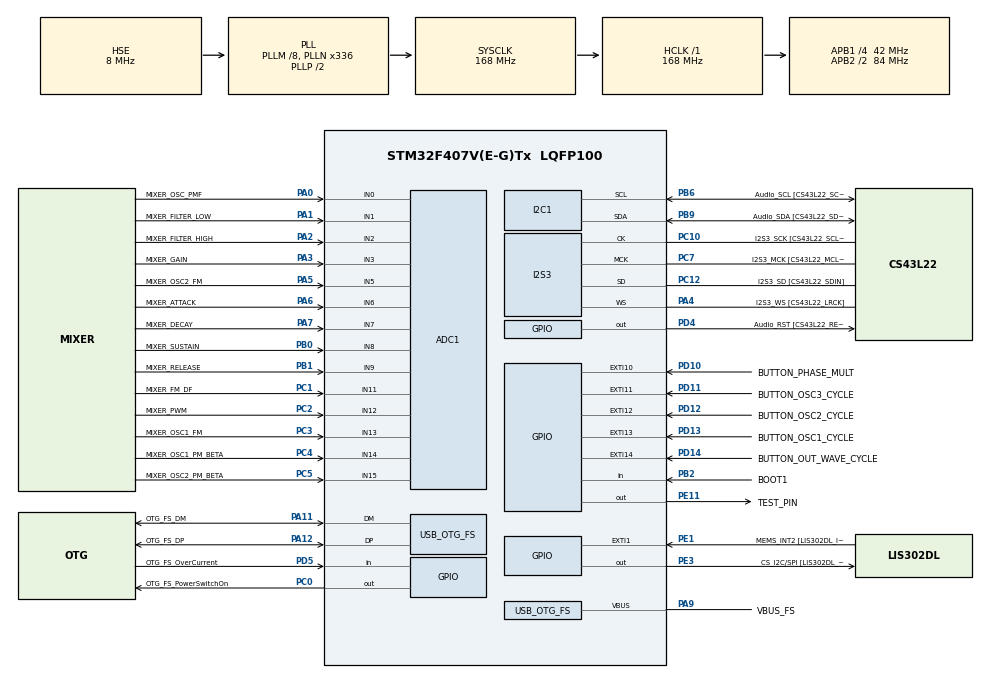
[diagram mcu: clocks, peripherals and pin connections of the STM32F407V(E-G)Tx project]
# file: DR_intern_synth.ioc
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ADC1.Channel-0\#ChannelRegularConversion=ADC_CHANNEL_1
ADC1.Channel-1\#ChannelRegularConversion=ADC_CHANNEL_2
ADC1.Channel-10\#ChannelRegularConversion=ADC_CHANNEL_13
ADC1.Channel-11\#ChannelRegularConversion=ADC_CHANNEL_14
ADC1.Channel-12\#ChannelRegularConversion=ADC_CHANNEL_15
ADC1.Channel-13\#ChannelRegularConversion=ADC_CHANNEL_0
ADC1.Channel-2\#ChannelRegularConversion=ADC_CHANNEL_3
ADC1.Channel-3\#ChannelRegularConversion=ADC_CHANNEL_5
ADC1.Channel-4\#ChannelRegularConversion=ADC_CHANNEL_6
ADC1.Channel-5\#ChannelRegularConversion=ADC_CHANNEL_7
ADC1.Channel-6\#ChannelRegularConversion=ADC_CHANNEL_8
ADC1.Channel-7\#ChannelRegularConversion=ADC_CHANNEL_9
ADC1.Channel-8\#ChannelRegularConversion=ADC_CHANNEL_11
ADC1.Channel-9\#ChannelRegularConversion=ADC_CHANNEL_12
ADC1.DMAContinuousRequests=ENABLE
ADC1.ExternalTrigConv=ADC_EXTERNALTRIGCONV_T3_TRGO
ADC1.NbrOfConversion=14
ADC1.NbrOfConversionFlag=1
ADC1.Rank-0\#ChannelRegularConversion=1
ADC1.Rank-1\#ChannelRegularConversion=2
ADC1.Rank-10\#ChannelRegularConversion=11
ADC1.Rank-11\#ChannelRegularConversion=12
ADC1.Rank-12\#ChannelRegularConversion=13
ADC1.Rank-13\#ChannelRegularConversion=14
ADC1.Rank-2\#ChannelRegularConversion=3
ADC1.Rank-3\#ChannelRegularConversion=4
ADC1.Rank-4\#ChannelRegularConversion=5
ADC1.Rank-5\#ChannelRegularConversion=6
ADC1.Rank-6\#ChannelRegularConversion=7
ADC1.Rank-7\#ChannelRegularConversion=8
ADC1.Rank-8\#ChannelRegularConversion=9
ADC1.Rank-9\#ChannelRegularConversion=10
ADC1.SamplingTime-0\#ChannelRegularConversion=ADC_SAMPLETIME_3CYCLES
ADC1.SamplingTime-1\#ChannelRegularConversion=ADC_SAMPLETIME_3CYCLES
ADC1.SamplingTime-10\#ChannelRegularConversion=ADC_SAMPLETIME_3CYCLES
ADC1.SamplingTime-11\#ChannelRegularConversion=ADC_SAMPLETIME_3CYCLES
ADC1.SamplingTime-12\#ChannelRegularConversion=ADC_SAMPLETIME_3CYCLES
ADC1.SamplingTime-13\#ChannelRegularConversion=ADC_SAMPLETIME_3CYCLES
ADC1.SamplingTime-2\#ChannelRegularConversion=ADC_SAMPLETIME_3CYCLES
ADC1.SamplingTime-3\#ChannelRegularConversion=ADC_SAMPLETIME_3CYCLES
ADC1.SamplingTime-4\#ChannelRegularConversion=ADC_SAMPLETIME_3CYCLES
ADC1.SamplingTime-5\#ChannelRegularConversion=ADC_SAMPLETIME_3CYCLES
ADC1.SamplingTime-6\#ChannelRegularConversion=ADC_SAMPLETIME_3CYCLES
ADC1.SamplingTime-7\#ChannelRegularConversion=ADC_SAMPLETIME_3CYCLES
ADC1.SamplingTime-8\#ChannelRegularConversion=ADC_SAMPLETIME_3CYCLES
ADC1.SamplingTime-9\#ChannelRegularConversion=ADC_SAMPLETIME_3CYCLES
ADC1.ScanConvMode=ENABLE
ADC1.master=1
Dma.ADC1.1.Direction=DMA_PERIPH_TO_MEMORY
Dma.ADC1.1.FIFOMode=DMA_FIFOMODE_DISABLE
Dma.ADC1.1.Instance=DMA2_Stream0
Dma.ADC1.1.MemDataAlignment=DMA_MDATAALIGN_HALFWORD
Dma.ADC1.1.MemInc=DMA_MINC_ENABLE
Dma.ADC1.1.Mode=DMA_CIRCULAR
Dma.ADC1.1.PeriphDataAlignment=DMA_PDATAALIGN_HALFWORD
Dma.ADC1.1.PeriphInc=DMA_PINC_DISABLE
Dma.ADC1.1.Priority=DMA_PRIORITY_LOW
Dma.Request0=SPI3_TX
Dma.Request1=ADC1
Dma.SPI3_TX.0.Direction=DMA_MEMORY_TO_PERIPH
Dma.SPI3_TX.0.FIFOMode=DMA_FIFOMODE_DISABLE
Dma.SPI3_TX.0.Instance=DMA1_Stream5
Dma.SPI3_TX.0.MemDataAlignment=DMA_MDATAALIGN_HALFWORD
Dma.SPI3_TX.0.MemInc=DMA_MINC_ENABLE
Dma.SPI3_TX.0.Mode=DMA_CIRCULAR
Dma.SPI3_TX.0.PeriphDataAlignment=DMA_PDATAALIGN_HALFWORD
Dma.SPI3_TX.0.PeriphInc=DMA_PINC_DISABLE
Dma.SPI3_TX.0.Priority=DMA_PRIORITY_LOW
I2S3.AudioFreq=I2S_AUDIOFREQ_44K
I2S3.AudioFreq-Half_Duplex_Master=I2S_AUDIOFREQ_96K
I2S3.ErrorAudioFreq=0.12 %
I2S3.ErrorAudioFreq-Half_Duplex_Master=0.8 %
I2S3.FullDuplexMode=I2S_FULLDUPLEXMODE_DISABLE
I2S3.Instance=SPI$Index
I2S3.RealAudioFreq=44.053 KHz
I2S3.RealAudioFreq-Half_Duplex_Master=96.774 KHz
I2S3.VirtualMode=I2S_MODE_MASTER
Mcu.Family=STM32F4
Mcu.Name=STM32F407V(E-G)Tx
Mcu.Package=LQFP100
NVIC.ADC_IRQn=true\:0\:0\:false\:false\:true\:true\:true\:true
NVIC.DMA1_Stream5_IRQn=true\:0\:0\:false\:false\:true\:false\:true\:true
NVIC.DMA2_Stream0_IRQn=true\:0\:0\:false\:false\:true\:false\:true\:true
NVIC.EXTI15_10_IRQn=true\:0\:0\:false\:false\:true\:true\:true\:true
NVIC.OTG_FS_IRQn=true\:0\:0\:false\:false\:true\:true\:true\:true
NVIC.PriorityGroup=NVIC_PRIORITYGROUP_0
NVIC.SPI3_IRQn=true\:0\:0\:false\:false\:true\:true\:true\:true
NVIC.TIM3_IRQn=true\:0\:0\:false\:false\:true\:true\:true\:true
NVIC.TIM7_IRQn=true\:0\:0\:false\:false\:true\:true\:true\:true
PA0-WKUP.GPIO_Label=MIXER_OSC_PMF
PA0-WKUP.Signal=ADCx_IN0
PA1.GPIO_Label=MIXER_FILTER_LOW
PA1.Signal=ADCx_IN1
PA10.GPIO_Label=OTG_FS_ID
PA10.GPIO_Mode=GPIO_MODE_AF_PP
PA10.GPIO_PuPd=GPIO_NOPULL
PA10.GPIO_Speed=GPIO_SPEED_FREQ_LOW
PA10.Signal=USB_OTG_FS_ID
PA11.GPIO_Label=OTG_FS_DM
PA11.GPIO_Mode=GPIO_MODE_AF_PP
PA11.GPIO_PuPd=GPIO_NOPULL
PA11.GPIO_Speed=GPIO_SPEED_FREQ_LOW
PA11.Mode=Host_Only
PA11.Signal=USB_OTG_FS_DM
PA12.GPIO_Label=OTG_FS_DP
PA12.GPIO_Mode=GPIO_MODE_AF_PP
PA12.GPIO_PuPd=GPIO_NOPULL
PA12.GPIO_Speed=GPIO_SPEED_FREQ_LOW
PA12.Mode=Host_Only
PA12.Signal=USB_OTG_FS_DP
PA13.GPIO_Label=SWDIO
PA13.Mode=Serial_Wire
PA13.Signal=SYS_JTMS-SWDIO
PA14.GPIO_Label=SWCLK
PA14.Mode=Serial_Wire
PA14.Signal=SYS_JTCK-SWCLK
PA2.GPIO_Label=MIXER_FILTER_HIGH
PA2.Signal=ADCx_IN2
PA3.GPIO_Label=MIXER_GAIN
PA3.Signal=ADCx_IN3
PA4.GPIO_Label=I2S3_WS [CS43L22_LRCK]
PA4.GPIO_Mode=GPIO_MODE_AF_PP
PA4.GPIO_PuPd=GPIO_NOPULL
PA4.GPIO_Speed=GPIO_SPEED_FREQ_LOW
PA4.Mode=Half_Duplex_Master
PA4.Signal=I2S3_WS
PA5.GPIO_Label=MIXER_OSC2_FM
PA5.Signal=ADCx_IN5
PA6.GPIO_Label=MIXER_ATTACK
PA6.Signal=ADCx_IN6
PA7.GPIO_Label=MIXER_DECAY
PA7.Signal=ADCx_IN7
PA9.GPIO_Label=VBUS_FS
PA9.GPIO_Mode=GPIO_MODE_INPUT
PA9.GPIO_PuPd=GPIO_NOPULL
PA9.Mode=Activate_VBUS
PA9.Signal=USB_OTG_FS_VBUS
PB0.GPIO_Label=MIXER_SUSTAIN
PB0.Signal=ADCx_IN8
PB1.GPIO_Label=MIXER_RELEASE
PB1.Signal=ADCx_IN9
PB10.GPIO_Label=CLK_IN [MP45DT02_CLK]
PB10.GPIO_Mode=GPIO_MODE_AF_PP
PB10.GPIO_PuPd=GPIO_NOPULL
PB10.GPIO_Speed=GPIO_SPEED_FREQ_LOW
PB10.Signal=I2S2_CK
PB2.GPIO_Label=BOOT1
PB2.GPIO_Mode=GPIO_MODE_INPUT
PB2.GPIO_PuPd=GPIO_NOPULL
PB2.Signal=GPIO_Input
PB3.GPIO_Label=SWO
PB3.Signal=SYS_JTDO-SWO
PB6.GPIO_Label=Audio_SCL [CS43L22_SCL]
PB6.GPIO_Mode=GPIO_MODE_AF_OD
PB6.GPIO_Pu=GPIO_PULLUP
PB6.GPIO_PuPd=GPIO_NOPULL
PB6.GPIO_Speed=GPIO_SPEED_FREQ_LOW
PB6.Mode=I2C
PB6.Signal=I2C1_SCL
PB9.GPIO_Label=Audio_SDA [CS43L22_SDA]
PB9.GPIO_Mode=GPIO_MODE_AF_OD
PB9.GPIO_Pu=GPIO_PULLUP
PB9.GPIO_PuPd=GPIO_NOPULL
PB9.GPIO_Speed=GPIO_SPEED_FREQ_LOW
PB9.Mode=I2C
PB9.Signal=I2C1_SDA
PC0.GPIO_Label=OTG_FS_PowerSwitchOn
PC0.GPIO_PuPd=GPIO_NOPULL
PC0.GPIO_Speed=GPIO_SPEED_FREQ_LOW
PC0.PinState=GPIO_PIN_SET
PC0.Signal=GPIO_Output
PC1.GPIO_Label=MIXER_FM_DF
PC1.Signal=ADCx_IN11
PC10.GPIO_Label=I2S3_SCK [CS43L22_SCLK]
PC10.GPIO_Mode=GPIO_MODE_AF_PP
PC10.GPIO_PuPd=GPIO_NOPULL
PC10.GPIO_Speed=GPIO_SPEED_FREQ_LOW
PC10.Mode=Half_Duplex_Master
PC10.Signal=I2S3_CK
PC12.GPIO_Label=I2S3_SD [CS43L22_SDIN]
PC12.GPIO_Mode=GPIO_MODE_AF_PP
PC12.GPIO_PuPd=GPIO_NOPULL
PC12.GPIO_Speed=GPIO_SPEED_FREQ_LOW
PC12.Mode=Half_Duplex_Master
PC12.Signal=I2S3_SD
PC14-OSC32_IN.GPIO_Label=PC14-OSC32_IN
PC14-OSC32_IN.Mode=LSE-External-Oscillator
PC14-OSC32_IN.Signal=RCC_OSC32_IN
PC15-OSC32_OUT.GPIO_Label=PC15-OSC32_OUT
PC15-OSC32_OUT.Mode=LSE-External-Oscillator
PC15-OSC32_OUT.Signal=RCC_OSC32_OUT
PC2.GPIO_Label=MIXER_PWM
PC2.Signal=ADCx_IN12
PC3.GPIO_Label=MIXER_OSC1_FM
PC3.Signal=ADCx_IN13
PC4.GPIO_Label=MIXER_OSC1_PM_BETA
PC4.Signal=ADCx_IN14
PC5.GPIO_Label=MIXER_OSC2_PM_BETA
PC5.Signal=ADCx_IN15
PC7.GPIO_Label=I2S3_MCK [CS43L22_MCLK]
PC7.GPIO_Mode=GPIO_MODE_AF_PP
PC7.GPIO_PuPd=GPIO_NOPULL
PC7.GPIO_Speed=GPIO_SPEED_FREQ_LOW
PC7.Mode=Master_Clock_Activated
PC7.Signal=I2S3_MCK
PD10.GPIO_Label=BUTTON_PHASE_MULT
PD10.GPIO_PuPd=GPIO_PULLUP
PD10.Signal=GPXTI10
PD11.GPIO_Label=BUTTON_OSC3_CYCLE
PD11.GPIO_ModeDefaultEXTI=GPIO_MODE_IT_FALLING
PD11.GPIO_PuPd=GPIO_PULLUP
PD11.Signal=GPXTI11
PD12.GPIO_Label=BUTTON_OSC2_CYCLE
PD12.GPIO_ModeDefaultEXTI=GPIO_MODE_IT_FALLING
PD12.GPIO_PuPd=GPIO_PULLUP
PD12.Signal=GPXTI12
PD13.GPIO_Label=BUTTON_OSC1_CYCLE
PD13.GPIO_ModeDefaultEXTI=GPIO_MODE_IT_FALLING
PD13.GPIO_PuPd=GPIO_PULLUP
PD13.Signal=GPXTI13
PD14.GPIO_Label=BUTTON_OUT_WAVE_CYCLE
PD14.GPIO_ModeDefaultEXTI=GPIO_MODE_IT_FALLING
PD14.GPIO_PuPd=GPIO_PULLUP
PD14.Signal=GPXTI14
PD4.GPIO_Label=Audio_RST [CS43L22_RESET]
PD4.GPIO_PuPd=GPIO_NOPULL
PD4.GPIO_Speed=GPIO_SPEED_FREQ_LOW
PD4.Signal=GPIO_Output
PD5.GPIO_Label=OTG_FS_OverCurrent
PD5.GPIO_Mode=GPIO_MODE_INPUT
PD5.GPIO_PuPd=GPIO_NOPULL
PD5.Signal=GPIO_Input
PE1.GPIO_Label=MEMS_INT2 [LIS302DL_INT2]
PE1.GPIO_ModeDefaultEXTI=GPIO_MODE_EVT_RISING
PE1.GPIO_PuPd=GPIO_NOPULL
PE1.Signal=GPXTI1
PE11.GPIO_Label=TEST_PIN
PE11.Signal=GPIO_Output
PE3.GPIO_Label=CS_I2C/SPI [LIS302DL_CS_I2C/SPI]
PE3.GPIO_PuPd=GPIO_NOPULL
PE3.GPIO_Speed=GPIO_SPEED_FREQ_LOW
PE3.Signal=GPIO_Output
PH0-OSC_IN.GPIO_Label=PH0-OSC_IN
PH0-OSC_IN.Mode=HSE-External-Oscillator
PH0-OSC_IN.Signal=RCC_OSC_IN
PH1-OSC_OUT.GPIO_Label=PH1-OSC_OUT
PH1-OSC_OUT.Mode=HSE-External-Oscillator
PH1-OSC_OUT.Signal=RCC_OSC_OUT
ProjectManager.HeapSize=0x200
ProjectManager.StackSize=0x400
ProjectManager.TargetToolchain=STM32CubeIDE
RCC.48MHZClocksFreq_Value=48000000
RCC.AHBFreq_Value=168000000
RCC.APB1CLKDivider=RCC_HCLK_DIV4
RCC.APB1Freq_Value=42000000
RCC.APB1TimFreq_Value=84000000
RCC.APB2CLKDivider=RCC_HCLK_DIV2
RCC.APB2Freq_Value=84000000
RCC.APB2TimFreq_Value=168000000
RCC.CortexFreq_Value=168000000
RCC.HCLKFreq_Value=168000000
RCC.HSE_VALUE=8000000
RCC.HSI_VALUE=16000000
RCC.PLLI2SN=203
RCC.PLLM=8
RCC.PLLN=336
RCC.PLLQ=7
RCC.SYSCLKFreq_VALUE=168000000
RCC.SYSCLKSource=RCC_SYSCLKSOURCE_PLLCLK
RCC.VCOOutputFreq_Value=336000000
SH.ADCx_IN0.0=ADC1_IN0,IN0
SH.ADCx_IN1.0=ADC1_IN1,IN1
SH.ADCx_IN11.0=ADC1_IN11,IN11
SH.ADCx_IN12.0=ADC1_IN12,IN12
SH.ADCx_IN13.0=ADC1_IN13,IN13
SH.ADCx_IN14.0=ADC1_IN14,IN14
SH.ADCx_IN15.0=ADC1_IN15,IN15
SH.ADCx_IN2.0=ADC1_IN2,IN2
SH.ADCx_IN3.0=ADC1_IN3,IN3
SH.ADCx_IN5.0=ADC1_IN5,IN5
SH.ADCx_IN6.0=ADC1_IN6,IN6
SH.ADCx_IN7.0=ADC1_IN7,IN7
SH.ADCx_IN8.0=ADC1_IN8,IN8
SH.ADCx_IN9.0=ADC1_IN9,IN9
TIM3.Channel-Output\ Compare1\ No\ Output=TIM_CHANNEL_1
TIM3.Prescaler=8
TIM3.TIM_MasterOutputTrigger=TIM_TRGO_UPDATE
TIM7.Period=200-1
TIM7.Prescaler=168-1
TIM7.TIM_MasterOutputTrigger=TIM_TRGO_UPDATE
USB_HOST.BSP.number=1
USB_HOST.USBH_HandleTypeDef-AUDIO_FS=hUsbHostFS
USB_HOST.VirtualModeFS=Audio
USB_HOST0.BSP.STBoard=false
USB_HOST0.BSP.api=Unknown
USB_HOST0.BSP.i2caddr=0
USB_HOST0.BSP.instance=PE11
USB_HOST0.BSP.ip=GPIO
USB_HOST0.BSP.mode=Output
USB_HOST0.BSP.name=Drive_VBUS_FS
USB_HOST0.BSP.solution=PE11
USB_OTG_FS.VirtualMode=Host_Only
USB_OTG_FS.phy_itface=HCD_PHY_EMBEDDED
VP_TIM3_VS_no_output1.Mode=Output Compare1 No Output
VP_TIM7_VS_ClockSourceINT.Mode=Enable_Timer
VP_USB_HOST_VS_USB_HOST_AUDIO_FS.Mode=AUDIO_FS
board=STM32F407G-DISC1

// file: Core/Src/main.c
/* USER CODE BEGIN Header */
/**
 ******************************************************************************
 * @file           : main.c
 * @brief          : Main program body
 ******************************************************************************
 * @attention
 *
 * Copyright (c) 2022 STMicroelectronics.
 * All rights reserved.
 *
 * This software is licensed under terms that can be found in the LICENSE file
 * in the root directory of this software component.
 * If no LICENSE file comes with this software, it is provided AS-IS.
 *
 ******************************************************************************
 */
/* USER CODE END Header */
#include "main.h"
#include "usb_host.h"

/* USER CODE BEGIN Includes */

#include "usb_host.h"
#include "wavetable.h"
#include "timer_utils.h"
#include "MY_CS43L22.h"
#include "filter.h"
#include "modulator.h"
#include "usbh_MIDI.h"
#include "MIDI_application.h"
#include "output_handler.h"
#include "envelope.h"

/* USER CODE END Includes */

/* USER CODE BEGIN PD */
#define REF_V_ANALOG 2.90
#define N_SAMPLES 255
#define ADC1_N_CHANNELS 3 //active channels on adc 1
/* USER CODE END PD */

 ADC_HandleTypeDef hadc1;
DMA_HandleTypeDef hdma_adc1;

I2C_HandleTypeDef hi2c1;

I2S_HandleTypeDef hi2s3;
DMA_HandleTypeDef hdma_spi3_tx;

TIM_HandleTypeDef htim3;
TIM_HandleTypeDef htim7;

/* USER CODE BEGIN PV */

uint16_t output_wave[N_WT_SAMPLES];

#define I2S_OUT_N N_WT_SAMPLES
#define I2S_OUT_N_HALF I2S_OUT_N/2
uint16_t i2s_out[I2S_OUT_N];

bool i2s_tx_cplt = false;
bool i2s_tx_half = false;

note_t nf_map_440hz[N_OCTAVES * N_SEMITONES];

uint16_t debounce_cnt = 0;
uint16_t debounce_limit = 0x1FF;
bool debounce_flag = false;

/* USER CODE END PV */

void SystemClock_Config(void);
static void MX_GPIO_Init(void);
static void MX_DMA_Init(void);
static void MX_TIM3_Init(void);
static void MX_TIM7_Init(void);
void MX_USB_HOST_Process(void);

int main(void)
{
  /* USER CODE BEGIN 1 */

	//	float output = 0;
  /* USER CODE END 1 */

  /* MCU Configuration--------------------------------------------------------*/

  /* Reset of all peripherals, Initializes the Flash interface and the Systick. */
  HAL_Init();

  /* Configure the system clock */
  SystemClock_Config();

  /* Initialize all configured peripherals */
  MX_GPIO_Init();
  MX_I2C1_Init();
  MX_DMA_Init();
  MX_USB_HOST_Init();
  MX_ADC1_Init();
  MX_I2S3_Init();
  MX_TIM3_Init();
  MX_TIM7_Init();
  /* USER CODE BEGIN 2 */

	CS43_Init(hi2c1, MODE_I2S);
	CS43_Enable_RightLeft(CS43_RIGHT_LEFT);
	CS43_SetVolume(1);
	CS43_Start();

	nf_map_init_440(nf_map_440hz);

	wavetable_init_all();

	HAL_StatusTypeDef tx_init_status = HAL_I2S_Transmit_DMA(&hi2s3, (uint16_t*)i2s_out, I2S_OUT_N);

	HAL_GPIO_TogglePin(GPIOC, GPIO_PIN_0);

	mixer_init(&hadc1, &htim3);

	filter_lp_RC_init(1, DELTA_T_DEFAULT);

	filter_hp_RC_init(1, DELTA_T_DEFAULT);

	output_handler_init(MIDI_get_n_voices());

	ws_enum wave_shape;

	while(env_update_ADSR()) {
		//wait for ADSR
	}

  /* USER CODE END 2 */

  /* Infinite loop */
  /* USER CODE BEGIN WHILE */

	while (1)
	{
		MIDI_Application();
    /* USER CODE END WHILE */
    MX_USB_HOST_Process();

    /* USER CODE BEGIN 3 */
		filter_update(); //NOTE: Filter needs to update BEFORE mixer
		mixer_update();

		MIDI_update_input(output_handler_get_steps());
		env_update_ADSR();

		if (i2s_tx_half) {
			wave_shape = mixer_get_waveshape_out();

			if (wave_shape == SINE) {
				output_handler_outwave_update(i2s_out, 0, I2S_OUT_N_HALF, wavetable_get_ptr(SINE));
			}
			else if (wave_shape == SQUARE) {
				output_handler_outwave_update(i2s_out, 0, I2S_OUT_N_HALF, wavetable_get_ptr(SQUARE));
			}
			else if (wave_shape == TRIANGLE) {
				output_handler_outwave_update(i2s_out, 0, I2S_OUT_N_HALF, wavetable_get_ptr(TRIANGLE));
			}
			else if (wave_shape == SAWTOOTH) {
				output_handler_outwave_update(i2s_out, 0, I2S_OUT_N_HALF, wavetable_get_ptr(SAWTOOTH));
			}
			else if (wave_shape == BOWSAW) {
				output_handler_outwave_update(i2s_out, 0, I2S_OUT_N_HALF, wavetable_get_ptr(BOWSAW));
			}
			i2s_tx_half = false;
		}
//		MIDI_Application();
//		MX_USB_HOST_Process();

//		env_process_update();

		if (i2s_tx_cplt) {
			wave_shape = mixer_get_waveshape_out();

			if (wave_shape == SINE) {
				output_handler_outwave_update(i2s_out, I2S_OUT_N_HALF, I2S_OUT_N, wavetable_get_ptr(SINE));
			}
			else if (wave_shape == SQUARE) {
				output_handler_outwave_update(i2s_out, I2S_OUT_N_HALF, I2S_OUT_N, wavetable_get_ptr(SQUARE));
			}
			else if (wave_shape == TRIANGLE) {
				output_handler_outwave_update(i2s_out, I2S_OUT_N_HALF, I2S_OUT_N, wavetable_get_ptr(TRIANGLE));
			}
			else if (wave_shape == SAWTOOTH) {
				output_handler_outwave_update(i2s_out, I2S_OUT_N_HALF, I2S_OUT_N, wavetable_get_ptr(SAWTOOTH));
			}
			else if (wave_shape == BOWSAW) {
				output_handler_outwave_update(i2s_out, I2S_OUT_N_HALF, I2S_OUT_N, wavetable_get_ptr(BOWSAW));
			}
			i2s_tx_cplt = false;
		}
	}
  /* USER CODE END 3 */
}

void SystemClock_Config(void)
{
  RCC_OscInitTypeDef RCC_OscInitStruct = {0};
  RCC_ClkInitTypeDef RCC_ClkInitStruct = {0};

  /** Configure the main internal regulator output voltage
  */
  __HAL_RCC_PWR_CLK_ENABLE();
  __HAL_PWR_VOLTAGESCALING_CONFIG(PWR_REGULATOR_VOLTAGE_SCALE1);

  /** Initializes the RCC Oscillators according to the specified parameters
  * in the RCC_OscInitTypeDef structure.
  */
  RCC_OscInitStruct.OscillatorType = RCC_OSCILLATORTYPE_HSE;
  RCC_OscInitStruct.HSEState = RCC_HSE_ON;
  RCC_OscInitStruct.PLL.PLLState = RCC_PLL_ON;
  RCC_OscInitStruct.PLL.PLLSource = RCC_PLLSOURCE_HSE;
  RCC_OscInitStruct.PLL.PLLM = 8;
  RCC_OscInitStruct.PLL.PLLN = 336;
  RCC_OscInitStruct.PLL.PLLP = RCC_PLLP_DIV2;
  RCC_OscInitStruct.PLL.PLLQ = 7;
  if (HAL_RCC_OscConfig(&RCC_OscInitStruct) != HAL_OK)
  {
    Error_Handler();
  }

  /** Initializes the CPU, AHB and APB buses clocks
  */
  RCC_ClkInitStruct.ClockType = RCC_CLOCKTYPE_HCLK|RCC_CLOCKTYPE_SYSCLK
                              |RCC_CLOCKTYPE_PCLK1|RCC_CLOCKTYPE_PCLK2;
  RCC_ClkInitStruct.SYSCLKSource = RCC_SYSCLKSOURCE_PLLCLK;
  RCC_ClkInitStruct.AHBCLKDivider = RCC_SYSCLK_DIV1;
  RCC_ClkInitStruct.APB1CLKDivider = RCC_HCLK_DIV4;
  RCC_ClkInitStruct.APB2CLKDivider = RCC_HCLK_DIV2;

  if (HAL_RCC_ClockConfig(&RCC_ClkInitStruct, FLASH_LATENCY_5) != HAL_OK)
  {
    Error_Handler();
  }
}

void MX_ADC1_Init(void)
{

  ADC_ChannelConfTypeDef sConfig = {0};

  /** Configure the global features of the ADC (Clock, Resolution, Data Alignment and number of conversion)
  */
  hadc1.Instance = ADC1;
  hadc1.Init.ClockPrescaler = ADC_CLOCK_SYNC_PCLK_DIV4;
  hadc1.Init.Resolution = ADC_RESOLUTION_12B;
  hadc1.Init.ScanConvMode = ENABLE;
  hadc1.Init.ContinuousConvMode = DISABLE;
  hadc1.Init.DiscontinuousConvMode = DISABLE;
  hadc1.Init.ExternalTrigConvEdge = ADC_EXTERNALTRIGCONVEDGE_RISING;
  hadc1.Init.ExternalTrigConv = ADC_EXTERNALTRIGCONV_T3_TRGO;
  hadc1.Init.DataAlign = ADC_DATAALIGN_RIGHT;
  hadc1.Init.NbrOfConversion = 14;
  hadc1.Init.DMAContinuousRequests = ENABLE;
  hadc1.Init.EOCSelection = ADC_EOC_SINGLE_CONV;
  if (HAL_ADC_Init(&hadc1) != HAL_OK)
  {
    Error_Handler();
  }

  /** Configure for the selected ADC regular channel its corresponding rank in the sequencer and its sample time.
  */
  sConfig.Channel = ADC_CHANNEL_1;
  sConfig.Rank = 1;
  sConfig.SamplingTime = ADC_SAMPLETIME_3CYCLES;
  if (HAL_ADC_ConfigChannel(&hadc1, &sConfig) != HAL_OK)
  {
    Error_Handler();
  }

  /** Configure for the selected ADC regular channel its corresponding rank in the sequencer and its sample time.
  */
  sConfig.Channel = ADC_CHANNEL_2;
  sConfig.Rank = 2;
  if (HAL_ADC_ConfigChannel(&hadc1, &sConfig) != HAL_OK)
  {
    Error_Handler();
  }

  /** Configure for the selected ADC regular channel its corresponding rank in the sequencer and its sample time.
  */
  sConfig.Channel = ADC_CHANNEL_3;
  sConfig.Rank = 3;
  if (HAL_ADC_ConfigChannel(&hadc1, &sConfig) != HAL_OK)
  {
    Error_Handler();
  }

  /** Configure for the selected ADC regular channel its corresponding rank in the sequencer and its sample time.
  */
  sConfig.Channel = ADC_CHANNEL_5;
  sConfig.Rank = 4;
  if (HAL_ADC_ConfigChannel(&hadc1, &sConfig) != HAL_OK)
  {
    Error_Handler();
  }

  /** Configure for the selected ADC regular channel its corresponding rank in the sequencer and its sample time.
  */
  sConfig.Channel = ADC_CHANNEL_6;
  sConfig.Rank = 5;
  if (HAL_ADC_ConfigChannel(&hadc1, &sConfig) != HAL_OK)
  {
    Error_Handler();
  }

  /** Configure for the selected ADC regular channel its corresponding rank in the sequencer and its sample time.
  */
  sConfig.Channel = ADC_CHANNEL_7;
  sConfig.Rank = 6;
  if (HAL_ADC_ConfigChannel(&hadc1, &sConfig) != HAL_OK)
  {
    Error_Handler();
  }

  /** Configure for the selected ADC regular channel its corresponding rank in the sequencer and its sample time.
  */
  sConfig.Channel = ADC_CHANNEL_8;
  sConfig.Rank = 7;
  if (HAL_ADC_ConfigChannel(&hadc1, &sConfig) != HAL_OK)
  {
    Error_Handler();
  }

  /** Configure for the selected ADC regular channel its corresponding rank in the sequencer and its sample time.
  */
  sConfig.Channel = ADC_CHANNEL_9;
  sConfig.Rank = 8;
  if (HAL_ADC_ConfigChannel(&hadc1, &sConfig) != HAL_OK)
  {
    Error_Handler();
  }

  /** Configure for the selected ADC regular channel its corresponding rank in the sequencer and its sample time.
  */
  sConfig.Channel = ADC_CHANNEL_11;
  sConfig.Rank = 9;
  if (HAL_ADC_ConfigChannel(&hadc1, &sConfig) != HAL_OK)
  {
    Error_Handler();
  }

  /** Configure for the selected ADC regular channel its corresponding rank in the sequencer and its sample time.
  */
  sConfig.Channel = ADC_CHANNEL_12;
  sConfig.Rank = 10;
  if (HAL_ADC_ConfigChannel(&hadc1, &sConfig) != HAL_OK)
  {
    Error_Handler();
  }

  /** Configure for the selected ADC regular channel its corresponding rank in the sequencer and its sample time.
  */
  sConfig.Channel = ADC_CHANNEL_13;
  sConfig.Rank = 11;
  if (HAL_ADC_ConfigChannel(&hadc1, &sConfig) != HAL_OK)
  {
    Error_Handler();
  }

  /** Configure for the selected ADC regular channel its corresponding rank in the sequencer and its sample time.
  */
  sConfig.Channel = ADC_CHANNEL_14;
  sConfig.Rank = 12;
  if (HAL_ADC_ConfigChannel(&hadc1, &sConfig) != HAL_OK)
  {
    Error_Handler();
  }

  /** Configure for the selected ADC regular channel its corresponding rank in the sequencer and its sample time.
  */
  sConfig.Channel = ADC_CHANNEL_15;
  sConfig.Rank = 13;
  if (HAL_ADC_ConfigChannel(&hadc1, &sConfig) != HAL_OK)
  {
    Error_Handler();
  }

  /** Configure for the selected ADC regular channel its corresponding rank in the sequencer and its sample time.
  */
  sConfig.Channel = ADC_CHANNEL_0;
  sConfig.Rank = 14;
  if (HAL_ADC_ConfigChannel(&hadc1, &sConfig) != HAL_OK)
  {
    Error_Handler();
  }

}

void MX_I2C1_Init(void)
{

  hi2c1.Instance = I2C1;
  hi2c1.Init.ClockSpeed = 100000;
  hi2c1.Init.DutyCycle = I2C_DUTYCYCLE_2;
  hi2c1.Init.OwnAddress1 = 0;
  hi2c1.Init.AddressingMode = I2C_ADDRESSINGMODE_7BIT;
  hi2c1.Init.DualAddressMode = I2C_DUALADDRESS_DISABLE;
  hi2c1.Init.OwnAddress2 = 0;
  hi2c1.Init.GeneralCallMode = I2C_GENERALCALL_DISABLE;
  hi2c1.Init.NoStretchMode = I2C_NOSTRETCH_DISABLE;
  if (HAL_I2C_Init(&hi2c1) != HAL_OK)
  {
    Error_Handler();
  }

}

void MX_I2S3_Init(void)
{

  hi2s3.Instance = SPI3;
  hi2s3.Init.Mode = I2S_MODE_MASTER_TX;
  hi2s3.Init.Standard = I2S_STANDARD_PHILIPS;
  hi2s3.Init.DataFormat = I2S_DATAFORMAT_16B;
  hi2s3.Init.MCLKOutput = I2S_MCLKOUTPUT_ENABLE;
  hi2s3.Init.AudioFreq = I2S_AUDIOFREQ_44K;
  hi2s3.Init.CPOL = I2S_CPOL_LOW;
  hi2s3.Init.ClockSource = I2S_CLOCK_PLL;
  hi2s3.Init.FullDuplexMode = I2S_FULLDUPLEXMODE_DISABLE;
  if (HAL_I2S_Init(&hi2s3) != HAL_OK)
  {
    Error_Handler();
  }

}

static void MX_TIM3_Init(void)
{

  TIM_MasterConfigTypeDef sMasterConfig = {0};
  TIM_OC_InitTypeDef sConfigOC = {0};

  htim3.Instance = TIM3;
  htim3.Init.Prescaler = 8;
  htim3.Init.CounterMode = TIM_COUNTERMODE_UP;
  htim3.Init.Period = 65535;
  htim3.Init.ClockDivision = TIM_CLOCKDIVISION_DIV1;
  htim3.Init.AutoReloadPreload = TIM_AUTORELOAD_PRELOAD_DISABLE;
  if (HAL_TIM_OC_Init(&htim3) != HAL_OK)
  {
    Error_Handler();
  }
  sMasterConfig.MasterOutputTrigger = TIM_TRGO_UPDATE;
  sMasterConfig.MasterSlaveMode = TIM_MASTERSLAVEMODE_DISABLE;
  if (HAL_TIMEx_MasterConfigSynchronization(&htim3, &sMasterConfig) != HAL_OK)
  {
    Error_Handler();
  }
  sConfigOC.OCMode = TIM_OCMODE_TIMING;
  sConfigOC.Pulse = 0;
  sConfigOC.OCPolarity = TIM_OCPOLARITY_HIGH;
  sConfigOC.OCFastMode = TIM_OCFAST_DISABLE;
  if (HAL_TIM_OC_ConfigChannel(&htim3, &sConfigOC, TIM_CHANNEL_1) != HAL_OK)
  {
    Error_Handler();
  }

}

static void MX_TIM7_Init(void)
{

  TIM_MasterConfigTypeDef sMasterConfig = {0};

  htim7.Instance = TIM7;
  htim7.Init.Prescaler = 168-1;
  htim7.Init.CounterMode = TIM_COUNTERMODE_UP;
  htim7.Init.Period = 200-1;
  htim7.Init.AutoReloadPreload = TIM_AUTORELOAD_PRELOAD_DISABLE;
  if (HAL_TIM_Base_Init(&htim7) != HAL_OK)
  {
    Error_Handler();
  }
  sMasterConfig.MasterOutputTrigger = TIM_TRGO_UPDATE;
  sMasterConfig.MasterSlaveMode = TIM_MASTERSLAVEMODE_DISABLE;
  if (HAL_TIMEx_MasterConfigSynchronization(&htim7, &sMasterConfig) != HAL_OK)
  {
    Error_Handler();
  }

}

static void MX_DMA_Init(void)
{

  /* DMA controller clock enable */
  __HAL_RCC_DMA1_CLK_ENABLE();
  __HAL_RCC_DMA2_CLK_ENABLE();

  /* DMA interrupt init */
  /* DMA1_Stream5_IRQn interrupt configuration */
  HAL_NVIC_SetPriority(DMA1_Stream5_IRQn, 0, 0);
  HAL_NVIC_EnableIRQ(DMA1_Stream5_IRQn);
  /* DMA2_Stream0_IRQn interrupt configuration */
  HAL_NVIC_SetPriority(DMA2_Stream0_IRQn, 0, 0);
  HAL_NVIC_EnableIRQ(DMA2_Stream0_IRQn);

}

static void MX_GPIO_Init(void)
{
  GPIO_InitTypeDef GPIO_InitStruct = {0};

  /* GPIO Ports Clock Enable */
  __HAL_RCC_GPIOE_CLK_ENABLE();
  __HAL_RCC_GPIOC_CLK_ENABLE();
  __HAL_RCC_GPIOH_CLK_ENABLE();
  __HAL_RCC_GPIOA_CLK_ENABLE();
  __HAL_RCC_GPIOB_CLK_ENABLE();
  __HAL_RCC_GPIOD_CLK_ENABLE();

  /*Configure GPIO pin Output Level */
  HAL_GPIO_WritePin(GPIOE, CS_I2C_SPI_Pin|TEST_PIN_Pin, GPIO_PIN_RESET);

  /*Configure GPIO pin Output Level */
  HAL_GPIO_WritePin(OTG_FS_PowerSwitchOn_GPIO_Port, OTG_FS_PowerSwitchOn_Pin, GPIO_PIN_SET);

  /*Configure GPIO pin Output Level */
  HAL_GPIO_WritePin(Audio_RST_GPIO_Port, Audio_RST_Pin, GPIO_PIN_RESET);

  /*Configure GPIO pins : CS_I2C_SPI_Pin TEST_PIN_Pin */
  GPIO_InitStruct.Pin = CS_I2C_SPI_Pin|TEST_PIN_Pin;
  GPIO_InitStruct.Mode = GPIO_MODE_OUTPUT_PP;
  GPIO_InitStruct.Pull = GPIO_NOPULL;
  GPIO_InitStruct.Speed = GPIO_SPEED_FREQ_LOW;
  HAL_GPIO_Init(GPIOE, &GPIO_InitStruct);

  /*Configure GPIO pin : OTG_FS_PowerSwitchOn_Pin */
  GPIO_InitStruct.Pin = OTG_FS_PowerSwitchOn_Pin;
  GPIO_InitStruct.Mode = GPIO_MODE_OUTPUT_PP;
  GPIO_InitStruct.Pull = GPIO_NOPULL;
  GPIO_InitStruct.Speed = GPIO_SPEED_FREQ_LOW;
  HAL_GPIO_Init(OTG_FS_PowerSwitchOn_GPIO_Port, &GPIO_InitStruct);

  /*Configure GPIO pin : BOOT1_Pin */
  GPIO_InitStruct.Pin = BOOT1_Pin;
  GPIO_InitStruct.Mode = GPIO_MODE_INPUT;
  GPIO_InitStruct.Pull = GPIO_NOPULL;
  HAL_GPIO_Init(BOOT1_GPIO_Port, &GPIO_InitStruct);

  /*Configure GPIO pin : CLK_IN_Pin */
  GPIO_InitStruct.Pin = CLK_IN_Pin;
  GPIO_InitStruct.Mode = GPIO_MODE_AF_PP;
  GPIO_InitStruct.Pull = GPIO_NOPULL;
  GPIO_InitStruct.Speed = GPIO_SPEED_FREQ_LOW;
  GPIO_InitStruct.Alternate = GPIO_AF5_SPI2;
  HAL_GPIO_Init(CLK_IN_GPIO_Port, &GPIO_InitStruct);

  /*Configure GPIO pin : BUTTON_PHASE_MULT_Pin */
  GPIO_InitStruct.Pin = BUTTON_PHASE_MULT_Pin;
  GPIO_InitStruct.Mode = GPIO_MODE_IT_RISING;
  GPIO_InitStruct.Pull = GPIO_PULLUP;
  HAL_GPIO_Init(BUTTON_PHASE_MULT_GPIO_Port, &GPIO_InitStruct);

  /*Configure GPIO pins : BUTTON_OSC3_CYCLE_Pin BUTTON_OSC2_CYCLE_Pin BUTTON_OSC1_CYCLE_Pin BUTTON_OUT_WAVE_CYCLE_Pin */
  GPIO_InitStruct.Pin = BUTTON_OSC3_CYCLE_Pin|BUTTON_OSC2_CYCLE_Pin|BUTTON_OSC1_CYCLE_Pin|BUTTON_OUT_WAVE_CYCLE_Pin;
  GPIO_InitStruct.Mode = GPIO_MODE_IT_FALLING;
  GPIO_InitStruct.Pull = GPIO_PULLUP;
  HAL_GPIO_Init(GPIOD, &GPIO_InitStruct);

  /*Configure GPIO pin : Audio_RST_Pin */
  GPIO_InitStruct.Pin = Audio_RST_Pin;
  GPIO_InitStruct.Mode = GPIO_MODE_OUTPUT_PP;
  GPIO_InitStruct.Pull = GPIO_NOPULL;
  GPIO_InitStruct.Speed = GPIO_SPEED_FREQ_LOW;
  HAL_GPIO_Init(Audio_RST_GPIO_Port, &GPIO_InitStruct);

  /*Configure GPIO pin : OTG_FS_OverCurrent_Pin */
  GPIO_InitStruct.Pin = OTG_FS_OverCurrent_Pin;
  GPIO_InitStruct.Mode = GPIO_MODE_INPUT;
  GPIO_InitStruct.Pull = GPIO_NOPULL;
  HAL_GPIO_Init(OTG_FS_OverCurrent_GPIO_Port, &GPIO_InitStruct);

  /*Configure GPIO pin : MEMS_INT2_Pin */
  GPIO_InitStruct.Pin = MEMS_INT2_Pin;
  GPIO_InitStruct.Mode = GPIO_MODE_EVT_RISING;
  GPIO_InitStruct.Pull = GPIO_NOPULL;
  HAL_GPIO_Init(MEMS_INT2_GPIO_Port, &GPIO_InitStruct);

  /* EXTI interrupt init*/
  HAL_NVIC_SetPriority(EXTI15_10_IRQn, 0, 0);
  HAL_NVIC_EnableIRQ(EXTI15_10_IRQn);

}

/* USER CODE BEGIN 4 */

//void HAL_TIM_PeriodElapsedCallback(TIM_HandleTypeDef* htim) {
//	if (htim == &htim3)
//		HAL_GPIO_TogglePin(TEST_PIN_GPIO_Port, TEST_PIN_Pin);
//}

void HAL_I2S_TxHalfCpltCallback(I2S_HandleTypeDef* hi2s) {
	if (hi2s == &hi2s3) {
		i2s_tx_half = true;
	}
}

void HAL_I2S_TxCpltCallback(I2S_HandleTypeDef* hi2s) {
	if (hi2s == &hi2s3) {
		i2s_tx_cplt = true;
	}
}

//void HAL_GPIO_EXTI_Callback(uint16_t GPIO_Pin) {
//	if (GPIO_Pin == BUTTON_WAVE_CYCLE_Pin && !cycle_waveshape_flag && !debounce_flag) {
//		//		cycle_waveshape_flag = true;
//		debounce_flag = true;
//		cycle_waveshape_flag = true;
//		key_pressed = true;
//	}
//}

/* USER CODE END 4 */

void Error_Handler(void)
{
	__disable_irq();
	while (1)
	{
	}
}
